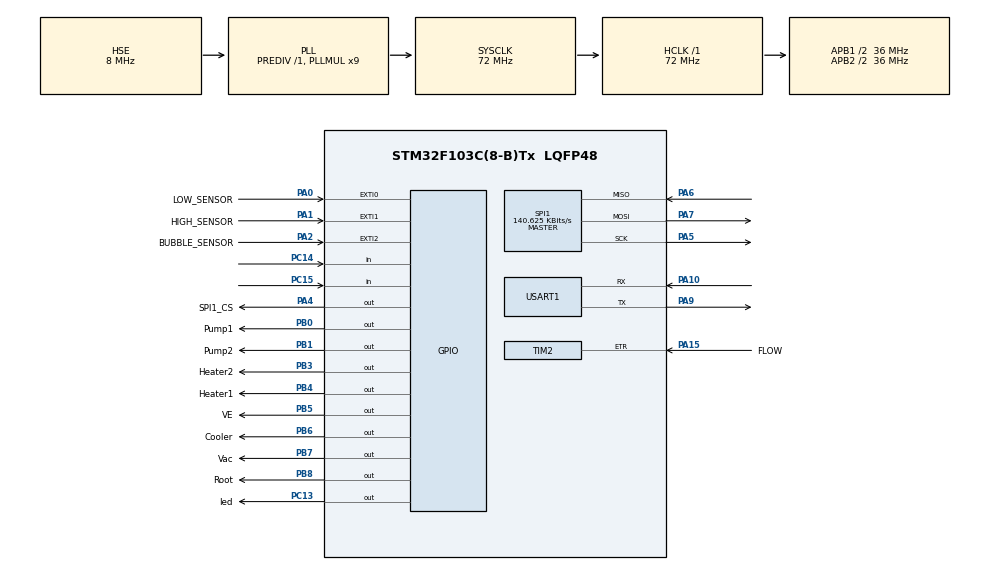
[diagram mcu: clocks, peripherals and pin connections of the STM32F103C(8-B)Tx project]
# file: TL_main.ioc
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Mcu.Family=STM32F1
Mcu.Name=STM32F103C(8-B)Tx
Mcu.Package=LQFP48
NVIC.EXTI0_IRQn=true\:0\:0\:false\:false\:true\:true
NVIC.EXTI1_IRQn=true\:0\:0\:false\:false\:true\:true
NVIC.EXTI2_IRQn=true\:0\:0\:false\:false\:true\:true
NVIC.PriorityGroup=NVIC_PRIORITYGROUP_4
NVIC.SPI1_IRQn=true\:0\:0\:false\:false\:true\:true
NVIC.TIM2_IRQn=true\:0\:0\:false\:false\:true\:true
NVIC.TIM4_IRQn=true\:0\:0\:false\:false\:true\:true
NVIC.USART1_IRQn=true\:0\:0\:false\:false\:true\:true
PA0-WKUP.GPIO_Label=LOW_SENSOR
PA0-WKUP.GPIO_ModeDefaultEXTI=GPIO_MODE_IT_RISING_FALLING
PA0-WKUP.GPIO_PuPd=GPIO_PULLUP
PA0-WKUP.Signal=GPXTI0
PA1.GPIO_Label=HIGH_SENSOR
PA1.GPIO_ModeDefaultEXTI=GPIO_MODE_IT_RISING_FALLING
PA1.GPIO_PuPd=GPIO_PULLUP
PA1.Signal=GPXTI1
PA10.Mode=Asynchronous
PA10.Signal=USART1_RX
PA13.Mode=Serial_Wire
PA13.Signal=SYS_JTMS-SWDIO
PA14.Mode=Serial_Wire
PA14.Signal=SYS_JTCK-SWCLK
PA15.GPIO_Label=FLOW
PA15.Signal=S_TIM2_CH1_ETR
PA2.GPIO_Label=BUBBLE_SENSOR
PA2.GPIO_ModeDefaultEXTI=GPIO_MODE_IT_RISING_FALLING
PA2.GPIO_PuPd=GPIO_PULLUP
PA2.Signal=GPXTI2
PA4.GPIO_Label=SPI1_CS
PA4.GPIO_ModeDefaultOutputPP=GPIO_MODE_OUTPUT_PP
PA4.GPIO_PuPd=GPIO_PULLUP
PA4.GPIO_Speed=GPIO_SPEED_FREQ_LOW
PA4.PinState=GPIO_PIN_RESET
PA4.Signal=GPIO_Output
PA5.Mode=Full_Duplex_Master
PA5.Signal=SPI1_SCK
PA6.GPIO_Mode=GPIO_MODE_INPUT
PA6.GPIO_PuPd=GPIO_NOPULL
PA6.Mode=Full_Duplex_Master
PA6.Signal=SPI1_MISO
PA7.Mode=Full_Duplex_Master
PA7.Signal=SPI1_MOSI
PA9.Mode=Asynchronous
PA9.Signal=USART1_TX
PB0.GPIO_Label=Pump1
PB0.GPIO_PuPd=GPIO_PULLUP
PB0.Signal=GPIO_Output
PB1.GPIO_Label=Pump2
PB1.GPIO_PuPd=GPIO_PULLUP
PB1.Signal=GPIO_Output
PB3.GPIO_Label=Heater2
PB3.GPIO_PuPd=GPIO_PULLUP
PB3.Signal=GPIO_Output
PB4.GPIO_Label=Heater1
PB4.GPIO_PuPd=GPIO_PULLUP
PB4.Signal=GPIO_Output
PB5.GPIO_Label=VE
PB5.GPIO_PuPd=GPIO_PULLUP
PB5.Signal=GPIO_Output
PB6.GPIO_Label=Cooler
PB6.GPIO_PuPd=GPIO_PULLUP
PB6.Signal=GPIO_Output
PB7.GPIO_Label=Vac
PB7.GPIO_PuPd=GPIO_PULLUP
PB7.Signal=GPIO_Output
PB8.GPIO_Label=Root
PB8.GPIO_PuPd=GPIO_PULLUP
PB8.Signal=GPIO_Output
PC13-TAMPER-RTC.GPIO_Label=led
PC13-TAMPER-RTC.GPIO_ModeDefaultOutputPP=GPIO_MODE_OUTPUT_PP
PC13-TAMPER-RTC.GPIO_PuPd=GPIO_PULLDOWN
PC13-TAMPER-RTC.GPIO_Speed=GPIO_SPEED_FREQ_LOW
PC13-TAMPER-RTC.PinState=GPIO_PIN_RESET
PC13-TAMPER-RTC.Signal=GPIO_Output
PC14-OSC32_IN.GPIO_Mode=GPIO_MODE_INPUT
PC14-OSC32_IN.GPIO_PuPd=GPIO_NOPULL
PC14-OSC32_IN.Signal=GPIO_Input
PC15-OSC32_OUT.GPIO_Mode=GPIO_MODE_INPUT
PC15-OSC32_OUT.GPIO_PuPd=GPIO_NOPULL
PC15-OSC32_OUT.Signal=GPIO_Input
PD0-OSC_IN.Mode=HSE-External-Oscillator
PD0-OSC_IN.Signal=RCC_OSC_IN
PD1-OSC_OUT.Mode=HSE-External-Oscillator
PD1-OSC_OUT.Signal=RCC_OSC_OUT
ProjectManager.HeapSize=0x200
ProjectManager.StackSize=0x400
ProjectManager.TargetToolchain=MDK-ARM V5
RCC.AHBFreq_Value=72000000
RCC.APB1CLKDivider=RCC_HCLK_DIV2
RCC.APB1Freq_Value=36000000
RCC.APB1TimFreq_Value=72000000
RCC.APB2CLKDivider=RCC_HCLK_DIV2
RCC.APB2Freq_Value=36000000
RCC.APB2TimFreq_Value=72000000
RCC.HCLKFreq_Value=72000000
RCC.PLLMUL=RCC_PLL_MUL9
RCC.PLLSourceVirtual=RCC_PLLSOURCE_HSE
RCC.SYSCLKFreq_VALUE=72000000
RCC.SYSCLKSource=RCC_SYSCLKSOURCE_PLLCLK
RCC.USBFreq_Value=72000000
SH.S_TIM2_CH1_ETR.0=TIM2_ETR,ClockSourceETR_Mode2
SPI1.BaudRatePrescaler=SPI_BAUDRATEPRESCALER_256
SPI1.CLKPhase=SPI_PHASE_2EDGE
SPI1.CalculateBaudRate=140.625 KBits/s
SPI1.Direction=SPI_DIRECTION_2LINES
SPI1.Mode=SPI_MODE_MASTER
SPI1.VirtualType=VM_MASTER
TIM2.Period=100
TIM4.AutoReloadPreload=TIM_AUTORELOAD_PRELOAD_ENABLE
TIM4.Period=2000
TIM4.Prescaler=36000
USART1.VirtualMode=VM_ASYNC
VP_TIM4_VS_ClockSourceINT.Mode=Internal
board=custom

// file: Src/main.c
/**
  ******************************************************************************
  * @file           : main.c
  * @brief          : Main program body
  ******************************************************************************
  ** This notice applies to any and all portions of this file
  * that are not between comment pairs USER CODE BEGIN and
  * USER CODE END. Other portions of this file, whether
  * inserted by the user or by software development tools
  * are owned by their respective copyright owners.
  *
  * COPYRIGHT(c) 2020 STMicroelectronics
  *
  * Redistribution and use in source and binary forms, with or without modification,
  * are permitted provided that the following conditions are met:
  *   1. Redistributions of source code must retain the above copyright notice,
  *      this list of conditions and the following disclaimer.
  *   2. Redistributions in binary form must reproduce the above copyright notice,
  *      this list of conditions and the following disclaimer in the documentation
  *      and/or other materials provided with the distribution.
  *   3. Neither the name of STMicroelectronics nor the names of its contributors
  *      may be used to endorse or promote products derived from this software
  *      without specific prior written permission.
  *
  * THIS SOFTWARE IS PROVIDED BY THE COPYRIGHT HOLDERS AND CONTRIBUTORS "AS IS"
  * AND ANY EXPRESS OR IMPLIED WARRANTIES, INCLUDING, BUT NOT LIMITED TO, THE
  * IMPLIED WARRANTIES OF MERCHANTABILITY AND FITNESS FOR A PARTICULAR PURPOSE ARE
  * DISCLAIMED. IN NO EVENT SHALL THE COPYRIGHT HOLDER OR CONTRIBUTORS BE LIABLE
  * FOR ANY DIRECT, INDIRECT, INCIDENTAL, SPECIAL, EXEMPLARY, OR CONSEQUENTIAL
  * DAMAGES (INCLUDING, BUT NOT LIMITED TO, PROCUREMENT OF SUBSTITUTE GOODS OR
  * SERVICES; LOSS OF USE, DATA, OR PROFITS; OR BUSINESS INTERRUPTION) HOWEVER
  * CAUSED AND ON ANY THEORY OF LIABILITY, WHETHER IN CONTRACT, STRICT LIABILITY,
  * OR TORT (INCLUDING NEGLIGENCE OR OTHERWISE) ARISING IN ANY WAY OUT OF THE USE
  * OF THIS SOFTWARE, EVEN IF ADVISED OF THE POSSIBILITY OF SUCH DAMAGE.
  *
  ******************************************************************************
  */
#include "main.h"
#include "stm32f1xx_hal.h"

/* USER CODE BEGIN Includes */
//#include "tm_stm32_hd44780.h"
#include "rc522.h"
#include "stdio.h"
#include "stdlib.h"
#include <cstring>
#include <stdbool.h>
#include "math.h"
//#include <Sim80x.h>
#include <string.h>
//include <stdio.h>
//#define relay_off HAL_GPIO_WritePin(GPIOB,GPIO_PIN_1,GPIO_PIN_RESET)
// Define input and ouput
//Input
#define LS_State HAL_GPIO_ReadPin(LOW_SENSOR_GPIO_Port,LOW_SENSOR_Pin)
#define HS_State HAL_GPIO_ReadPin(HIGH_SENSOR_GPIO_Port,HIGH_SENSOR_Pin)
#define BS_State HAL_GPIO_ReadPin(BUBBLE_SENSOR_GPIO_Port,BUBBLE_SENSOR_Pin)
#define VE_State HAL_GPIO_ReadPin(VE_GPIO_Port,VE_Pin)
#define Pump1_State HAL_GPIO_ReadPin(Pump1_GPIO_Port,Pump1_Pin)
#define Pump2_State HAL_GPIO_ReadPin(Pump2_GPIO_Port,Pump2_Pin)
#define Root_State HAL_GPIO_ReadPin(Root_GPIO_Port,Root_Pin)
#define Vac_State HAL_GPIO_ReadPin(Vac_GPIO_Port,Vac_Pin)
#define Cooler_State HAL_GPIO_ReadPin(Cooler_GPIO_Port,Cooler_Pin)
#define Heater1_State HAL_GPIO_ReadPin(Heater1_GPIO_Port,Heater1_Pin)
#define Heater2_State HAL_GPIO_ReadPin(Heater2_GPIO_Port,Heater2_Pin)

//Output
#define Pump1_on HAL_GPIO_WritePin(Pump1_GPIO_Port,Pump1_Pin,GPIO_PIN_SET)
#define Pump1_off HAL_GPIO_WritePin(Pump1_GPIO_Port,Pump1_Pin,GPIO_PIN_RESET)
#define Pump2_on HAL_GPIO_WritePin(Pump2_GPIO_Port,Pump2_Pin,GPIO_PIN_SET)
#define Pump2_off HAL_GPIO_WritePin(Pump2_GPIO_Port,Pump2_Pin,GPIO_PIN_RESET)
#define Root_on HAL_GPIO_WritePin(Root_GPIO_Port,Root_Pin,GPIO_PIN_SET)
#define Root_off HAL_GPIO_WritePin(Root_GPIO_Port,Root_Pin,GPIO_PIN_RESET)
#define Vac_on HAL_GPIO_WritePin(Vac_GPIO_Port,Vac_Pin,GPIO_PIN_SET)
#define Vac_off HAL_GPIO_WritePin(Vac_GPIO_Port,Vac_Pin,GPIO_PIN_RESET)
#define Cooler_on HAL_GPIO_WritePin(Cooler_GPIO_Port,Cooler_Pin,GPIO_PIN_SET)
#define Cooler_off HAL_GPIO_WritePin(Cooler_GPIO_Port,Cooler_Pin,GPIO_PIN_RESET)
#define VE_on HAL_GPIO_WritePin(VE_GPIO_Port,VE_Pin,GPIO_PIN_SET)
#define VE_off HAL_GPIO_WritePin(VE_GPIO_Port,VE_Pin,GPIO_PIN_RESET)
#define Heater1_on HAL_GPIO_WritePin(Heater1_GPIO_Port,Heater1_Pin,GPIO_PIN_SET)
#define Heater1_off HAL_GPIO_WritePin(Heater1_GPIO_Port,Heater1_Pin,GPIO_PIN_RESET)
#define Heater2_on HAL_GPIO_WritePin(Heater2_GPIO_Port,Heater2_Pin,GPIO_PIN_SET)
#define Heater2_off HAL_GPIO_WritePin(Heater2_GPIO_Port,Heater2_Pin,GPIO_PIN_RESET)
/* USER CODE END Includes */

SPI_HandleTypeDef hspi1;

TIM_HandleTypeDef htim2;
TIM_HandleTypeDef htim4;

UART_HandleTypeDef huart1;

/* USER CODE BEGIN PV */
/* Private variables ---------------------------------------------------------*/
bool Error_Sensor=false,init_stage=true;
uint8_t stage=0,mode=0,start=0;
uint16_t flow =0,temp=0,pressure=0,setTemp=0,flow_check=0,temp_check=0,pressure_check=0,setTemp_check=0;
char bfr_wifi1[200],bfr_wifi2[200],bfr_wifi3[200],Rx_BufferEsp[200], Transfer_cplt,flow_bf[10],temp_bf[10],pressure_bf[10],setTemp_bf[10];
uint8_t Rx_indx,length;
char Rx_data[2];
uint8_t check=0;
uint8_t id=1;
uint16_t tik = 0;
uint8_t count_Byte;

/* USER CODE END PV */

void SystemClock_Config(void);
static void MX_GPIO_Init(void);
static void MX_SPI1_Init(void);
static void MX_USART1_UART_Init(void);
static void MX_TIM4_Init(void);
static void MX_TIM2_Init(void);

/* USER CODE BEGIN PFP */
/* Private function prototypes -----------------------------------------------*/

/* END CRC Modbus Function */

/* BEGIN Read Holding Register Function */

/* END Read Holding Register Function */

/* BEGIN TransferRTU Enable*/

/* END TransferRTU Enable */

/* BEGIN TransferRTU Enable */

/* END TransferRTU Enable */

void Transfer_data_IT(){
//			sprintf(bfr_wifi2,"{\"Id\":\"%d\",\"U1\":\"%0.3f\",\"U2\":\"%0.3f\",\"I1\":\"%0.3f\",\"I2\":\"%0.3f\",\"cosP1\":\"%0.3f\",\"cosP2\":\"%0.3f\"}\n",id,Vhd1,Vhd2,Ihd1,Ihd2,cosP1,cosP2);
			sprintf(bfr_wifi1,"{\"s\":\"%d\",\"m\":\"%d\",\"LS\":\"%d\",\"HS\":\"%d\",\"BS\":\"%d\",\"P1\":\"%d\",\"P2\":\"%d\",\"press\":\"%d\",\"setTemp\":\"%d\"}\n",start,mode,LS_State,HS_State,BS_State,Pump1_State,Pump2_State,pressure,setTemp);
			HAL_UART_Transmit_IT(&huart1,(uint8_t*)bfr_wifi1,strlen(bfr_wifi1));
			HAL_Delay(20);
			sprintf(bfr_wifi1,"{\"R\":\"%d\",\"V\":\"%d\",\"C\":\"%d\",\"VE\":\"%d\",\"H1\":\"%d\",\"H2\":\"%d\",\"flow\":\"%d\",\"temp\":\"%d\"}\n",Root_State,Vac_State,Cooler_State,VE_State,Heater1_State,Heater2_State,flow,temp);
			HAL_UART_Transmit_IT(&huart1,(uint8_t*)bfr_wifi1,strlen(bfr_wifi1));
//			HAL_Delay(100);

}
void Transfer_data_sd(){
			sprintf(bfr_wifi2,"{\"s\":\"%d\",\"m\":\"%d\",\"LS\":\"%d\",\"HS\":\"%d\",\"BS\":\"%d\",\"P1\":\"%d\",\"P2\":\"%d\",\"press\":\"%d\",\"setTemp\":\"%d\"}\n",start,mode,LS_State,HS_State,BS_State,Pump1_State,Pump2_State,pressure,setTemp);
			HAL_UART_Transmit(&huart1,(uint8_t*)bfr_wifi2,strlen(bfr_wifi2),20);
			sprintf(bfr_wifi2,"{\"R\":\"%d\",\"V\":\"%d\",\"C\":\"%d\",\"VE\":\"%d\",\"H1\":\"%d\",\"H2\":\"%d\",\"flow\":\"%d\",\"temp\":\"%d\"}\n",Root_State,Vac_State,Cooler_State,VE_State,Heater1_State,Heater2_State,flow,temp);
			HAL_UART_Transmit(&huart1,(uint8_t*)bfr_wifi2,strlen(bfr_wifi2),20);

}

void HAL_UART_RxCpltCallback(UART_HandleTypeDef *huart){
	uint8_t i;
	if (huart->Instance == USART1){
		if (Rx_indx==0) {for (i=0;i<200;i++) Rx_BufferEsp[i]=0;}	//xoa Rx_Buffer truoc khi nhan du lieu

		if (Rx_data[0]!='\n')	//Neu du lieu nhan duoc khac voi 13 (13 la ma cua phim enter xuong dong)
			{
			Rx_BufferEsp[Rx_indx++]=Rx_data[0];	//them du lieu vao Rx_Buffer
			if(Rx_BufferEsp[0] == '@') // neu co ki tu hop le thi moi xu ly
				{
					Transfer_data_sd();

				}
			if((Rx_BufferEsp[0] == '.')||(Rx_BufferEsp[0] == '#')||(Rx_BufferEsp[0] == '$')||(Rx_BufferEsp[0] == '%')||(Rx_BufferEsp[0] == '^')){

			}
			else //khong thi dua index ve 0 -> se bi xoa buffer
				{
					Rx_indx=0;	//Dua index ve 0
					Transfer_cplt=0;//

				}
			}
		else			//Neu phim enter duoc an
			{
					length=Rx_indx;
					Rx_indx=0;	//Dua index ve 0
					Transfer_cplt=1;//Qua trinh truyen hoan tat, du lieu da san sang de doc
			}
			if(Transfer_cplt==1)
			{
				if(Rx_BufferEsp[0]=='.'){
					if(Rx_BufferEsp[1]=='1') {start=1;stage=0;}
					if(Rx_BufferEsp[1]=='0') {start =0;stage=0;}
					if(Rx_BufferEsp[3]=='1'){//mode auto
						if(mode==0){
							stage=0;
						}
						mode=1;
					}
					if(Rx_BufferEsp[3]=='0') {//mode manual
						mode=0;
						if(start==1){
							if(Rx_BufferEsp[5]=='1'){Pump1_on;}
							if(Rx_BufferEsp[5]=='0'){Pump1_off;}
							if(Rx_BufferEsp[7]=='1'){Pump2_on;}
							if(Rx_BufferEsp[7]=='0'){Pump2_off;}
							if(Rx_BufferEsp[9]=='1'){Root_on;}
							if(Rx_BufferEsp[9]=='0'){Root_off;}
							if(Rx_BufferEsp[11]=='1'){Vac_on;}
							if(Rx_BufferEsp[11]=='0'){Vac_off;}
							if(Rx_BufferEsp[13]=='1'){Cooler_on;}
							if(Rx_BufferEsp[13]=='0'){Cooler_off;}
							if(Rx_BufferEsp[15]=='1'){VE_on;}
							if(Rx_BufferEsp[15]=='0'){VE_off;}
							if(Rx_BufferEsp[17]=='1'){Heater1_on;}
							if(Rx_BufferEsp[17]=='0'){Heater1_off;}
							if(Rx_BufferEsp[19]=='1'){Heater2_on;}
							if(Rx_BufferEsp[19]=='0'){Heater2_off;}
							stage=50;
						}

						}
				}
				if(Rx_BufferEsp[0]=='#'){
					for(int i=0;i<length;i++){
						flow_bf[i]=Rx_BufferEsp[i+1];
					}
					flow = atoi(flow_bf);
					if(mode==1){
						if((flow>0)&&(flow<=2000)&&(setTemp>=temp)){
							Heater1_on;
							Heater2_off;
						}
						if((flow>2000)&&(setTemp>=temp)) {
							Heater1_on;
							Heater2_on;
						}
						if((flow==0)||(setTemp<temp)){
							Heater1_off;
							Heater2_off;
					}

					}

				}
				if(Rx_BufferEsp[0]=='%'){
					for(int i=0;i<length;i++){
						pressure_bf[i]=Rx_BufferEsp[i+1];
					}
					pressure = atoi(pressure_bf);

				}
				if(Rx_BufferEsp[0]=='^'){
					for(int i=0;i<length;i++){
						setTemp_bf[i]=Rx_BufferEsp[i+1];
					}
					 setTemp= atoi(setTemp_bf);
					if(mode==1){
						if((flow>0)&&(flow<=2000)&&(setTemp>=temp)){
							Heater1_on;
							Heater2_off;
						}
						if((flow>2000)&&(setTemp>=temp)) {
							Heater1_on;
							Heater2_on;
						}
						if((flow==0)||(setTemp<temp)){
							Heater1_off;
							Heater2_off;
					}

					}

				}
				if(Rx_BufferEsp[0]=='$'){
					for(int i=0;i<length;i++){
						temp_bf[i]=Rx_BufferEsp[i+1];
					}
					temp = atoi(temp_bf);
					if(mode==1){
						if((flow>0)&&(flow<=2000)&&(setTemp>=temp)){
							Heater1_on;
							Heater2_off;
						}
						if((flow>2000)&&(setTemp>=temp)) {
							Heater1_on;
							Heater2_on;
						}
						if((flow==0)||(setTemp<temp)){
							Heater1_off;
							Heater2_off;
					}

					}

				}

			}
		HAL_UART_Receive_IT(&huart1, (uint8_t*)Rx_data, 1);	//Kich hoat UART nhan du lieu ngat moi luc
	}

}

void check_init_stages(){
	if(LS_State&&HS_State){
		if(!VE_State){
			stage=0;
			init_stage=true;
		}
	}
	else {init_stage=false;}

}

void HAL_GPIO_EXTI_Callback(uint16_t GPIO_Pin){
	if(GPIO_Pin == LOW_SENSOR_Pin){
		if(mode==1){
			// Xuong duoi muc thap
			// Duoi muc thap 0 0 1 0
			if(LS_State&&HS_State){
				stage=4;
				Error_Sensor=false; //RESET LOI
			}
			if(LS_State&&!HS_State){
				Error_Sensor=true; //LOI
			}
			//Vuot len muc thap
			//Nam giua muc thap va muc cao(TH on dinh) 1 0 1 1
			if((!LS_State) &&(HS_State)){
				stage = 1;
				Error_Sensor=false; //RESET LOI
			}
			// Vuot qua ca muc thap va muc cao (de phong loi cam bien muc cao)
			// 2 truong hop 1100 va 01xx deu phai bao loi
			if(!LS_State&&!HS_State){
				Error_Sensor=true;;// LOI
			}
		}
		else {
			Transfer_data_sd();
		}
	}
	if(GPIO_Pin == HIGH_SENSOR_Pin){
		if(mode==1){
			// Vuot qua muc cao 1101
			if(!HS_State&&!LS_State){
				stage=2;
				Error_Sensor=false; //RESET LOI
			}
			if(!HS_State&&LS_State){
				Error_Sensor=true;//LOI
			}
			// Xuong duoi muc cao
			//Giam xuong nam giua muc thap va muc cao (TH on dinh) 1 0 1 1
			if(HS_State&&!LS_State){
				stage=3;
				Error_Sensor=false; //RESET LOI
			}
			if(HS_State&&LS_State){
			Error_Sensor=true;// LOI
			}
		}
		else {
			Transfer_data_sd();
		}

	}
	if(GPIO_Pin == BUBBLE_SENSOR_Pin){
		if(mode==1){
			if(BS_State){VE_off;}
			else {VE_on;}
			Transfer_data_sd();
		}
		else {
			Transfer_data_sd();
		}

	}
}

void HAL_TIM_PeriodElapsedCallback(TIM_HandleTypeDef *htim4)
{
	if(htim4 -> Instance == TIM4)
	{
		tik= tik+1;
	}
}

/* USER CODE END PFP */

int main(void)
{

  /* MCU Configuration----------------------------------------------------------*/

  /* Reset of all peripherals, Initializes the Flash interface and the Systick. */
  HAL_Init();

  /* Configure the system clock */
  SystemClock_Config();

  /* Initialize all configured peripherals */
  MX_GPIO_Init();
  MX_SPI1_Init();
  MX_USART1_UART_Init();
  MX_TIM4_Init();
  MX_TIM2_Init();
  /* USER CODE BEGIN 2 */
	HAL_TIM_Base_Start_IT(&htim4);
	//HAL_TIM_Base_Start_IT(&htim2);
	check_init_stages();
	Transfer_data_IT();
	HAL_UART_Receive_IT(&huart1, (uint8_t*)Rx_data, 1);

  /* USER CODE END 2 */

  /* Infinite loop */
  /* USER CODE BEGIN WHILE */
  while (1)
  {
		if(start==1){
			//mode=1 => Auto Mode
			HAL_GPIO_WritePin(led_GPIO_Port,led_Pin,GPIO_PIN_RESET);
			if(init_stage==true){
				if(mode==1){
					if(stage==0){ // Trang thai muc nuoc duoi muc thap
						// Neu ca 2 cam bien chua tac dong -> duoi muc thap -> thi moi cho bom
						Cooler_on; //Bat che do lam lanh
						Vac_on; // Chay Vac pump
						Pump2_off;
						Transfer_data_IT();
						HAL_Delay(5000);
						Root_on;
						Transfer_data_IT();
						HAL_Delay(10000);
						Pump1_on;

						if((flow>0)&&(flow<2000)&&(setTemp>=temp)){
							Heater1_on;
							Heater2_off;
						}
						if((flow>2000)&&(setTemp>=temp)) {
							Heater1_on;
							Heater2_on;
						}
						if((flow==0)||(setTemp<temp)){
							Heater1_off;
							Heater2_off;
						}
						Transfer_data_IT();//Cap nhat trang thai ket thuc
						stage=100;//Out khoi vong lap

				}
					if(stage==1){ //Tu muc thap len trang thai on dinh
						if(flow<2000){
							Heater1_on;
							Heater2_off;
						}
						else {
							Heater1_on;
							Heater2_on;
						}
						Cooler_on; //Bat che do lam lanh
						Vac_on;
						Root_on; //Chay root pump
						Pump1_on; //Chay bom dau vao
						HAL_Delay(1000);
						Pump2_on;//ngat bom dau ra

						if((flow>0)&&(flow<2000)&&(setTemp>=temp)){
							Heater1_on;
							Heater2_off;
						}
						if((flow>2000)&&(setTemp>=temp)) {
							Heater1_on;
							Heater2_on;
						}
						if((flow==0)||(setTemp<temp)){
							Heater1_off;
							Heater2_off;
						}
						Transfer_data_IT();//Cap nhat trang thai ket thuc
						stage=100;//Out khoi vong lap
					}
					if(stage==2){ //Trang thai vuot muc cao
						Cooler_on; //Bat che do lam lanh
						Vac_on;
						Root_on; //Chay root pump
						Pump1_off; //ngat bom dau vao
						Pump2_on;//chay bom dau ra

						if((flow>0)&&(flow<2000)&&(setTemp>=temp)){
							Heater1_on;
							Heater2_off;
						}
						if((flow>2000)&&(setTemp>=temp)) {
							Heater1_on;
							Heater2_on;
						}
						if((flow==0)||(setTemp<temp)){
							Heater1_off;
							Heater2_off;
						}
						Transfer_data_IT();//Cap nhat trang thai ket thuc
						stage=100;//Out khoi vong lap
					}
					if(stage==3){ //Tu muc cao xuong on dinh
						Cooler_on; //Bat che do lam lanh
						Vac_on;
						Root_on; //Chay root pump
						Pump2_on;//ngat bom dau ra
						HAL_Delay(1000);
						Pump1_on; //Chay bom dau vao
						if((flow>0)&&(flow<2000)&&(setTemp>=temp)){
							Heater1_on;
							Heater2_off;
						}
						if((flow>2000)&&(setTemp>=temp)) {
							Heater1_on;
							Heater2_on;
						}
						if((flow==0)||(setTemp<temp)){
							Heater1_off;
							Heater2_off;
						}
						Transfer_data_IT();//Cap nhat trang thai ket thuc

						stage=100;//Out khoi vong lap
					}
					if(stage==4){ //Tu on dinh xuong duoi muc thap
						Cooler_on; //Bat che do lam lanh
						Vac_on;
						Root_on; //Chay root pump
						Pump2_off;//ngat bom dau ra
						HAL_Delay(1000);
						Pump1_on; //Chay bom dau vao
						if((flow>0)&&(flow<2000)&&(setTemp>=temp)){
							Heater1_on;
							Heater2_off;
						}
						if((flow>2000)&&(setTemp>=temp)) {
							Heater1_on;
							Heater2_on;
						}
						if((flow==0)||(setTemp<temp)){
							Heater1_off;
							Heater2_off;
						}
						Transfer_data_IT();//Cap nhat trang thai ket thuc
						stage=100;//Out khoi vong lap
					}

					else if(stage==100){;}

			}
			else {//Che do manual
				// Ngat tat ca cac thiet bi
				if(stage==50){

					Transfer_data_IT();//Cap nhat trang thai ket thuc
					stage=100;//Out khoi vong lap
					}
				if(stage==100){;}

			}

	}

			else {
				if(stage!=100){
					// Ngat tat ca cac thiet bi
					Pump1_off;
					Pump2_off;
					Root_off;
					Vac_off;
					Heater1_off;
					Heater2_off;
					VE_off;
					Cooler_off;
					Transfer_data_IT();//Cap nhat trang thai ket thuc
					stage=100;//Out khoi vong lap
				}
				else{}
			}

			HAL_Delay(200);

  /* USER CODE END WHILE */

  /* USER CODE BEGIN 3 */

  } //end cua if start
	else { //Neu chuyen sang che do tam dung
		if(stage!=100){
			HAL_GPIO_WritePin(led_GPIO_Port,led_Pin,GPIO_PIN_SET);
			Pump1_off;
			Pump2_off;
			Root_off;
			Vac_off;
			Heater1_off;
			Heater2_off;
			VE_off;
			Cooler_off;
			Transfer_data_IT();//Cap nhat trang thai ket thuc
			stage=100;
		}
		}
	if(flow_check!=flow){
		flow_check = flow;
		Transfer_data_IT();

	}
	if(temp_check!=temp){
		temp_check = temp ;
		Transfer_data_IT();

	}
	if(pressure_check!=pressure){
		pressure_check = pressure ;
		Transfer_data_IT();

	}
	if(setTemp_check!=setTemp){
		setTemp_check = setTemp ;
		Transfer_data_IT();

	}
		HAL_Delay(200);

} //end cua vong while(1)
  /* USER CODE END 3 */

}

void SystemClock_Config(void)
{

  RCC_OscInitTypeDef RCC_OscInitStruct;
  RCC_ClkInitTypeDef RCC_ClkInitStruct;

    /**Initializes the CPU, AHB and APB busses clocks
    */
  RCC_OscInitStruct.OscillatorType = RCC_OSCILLATORTYPE_HSE;
  RCC_OscInitStruct.HSEState = RCC_HSE_ON;
  RCC_OscInitStruct.HSEPredivValue = RCC_HSE_PREDIV_DIV1;
  RCC_OscInitStruct.HSIState = RCC_HSI_ON;
  RCC_OscInitStruct.PLL.PLLState = RCC_PLL_ON;
  RCC_OscInitStruct.PLL.PLLSource = RCC_PLLSOURCE_HSE;
  RCC_OscInitStruct.PLL.PLLMUL = RCC_PLL_MUL9;
  if (HAL_RCC_OscConfig(&RCC_OscInitStruct) != HAL_OK)
  {
    _Error_Handler(__FILE__, __LINE__);
  }

    /**Initializes the CPU, AHB and APB busses clocks
    */
  RCC_ClkInitStruct.ClockType = RCC_CLOCKTYPE_HCLK|RCC_CLOCKTYPE_SYSCLK
                              |RCC_CLOCKTYPE_PCLK1|RCC_CLOCKTYPE_PCLK2;
  RCC_ClkInitStruct.SYSCLKSource = RCC_SYSCLKSOURCE_PLLCLK;
  RCC_ClkInitStruct.AHBCLKDivider = RCC_SYSCLK_DIV1;
  RCC_ClkInitStruct.APB1CLKDivider = RCC_HCLK_DIV2;
  RCC_ClkInitStruct.APB2CLKDivider = RCC_HCLK_DIV2;

  if (HAL_RCC_ClockConfig(&RCC_ClkInitStruct, FLASH_LATENCY_2) != HAL_OK)
  {
    _Error_Handler(__FILE__, __LINE__);
  }

    /**Configure the Systick interrupt time
    */
  HAL_SYSTICK_Config(HAL_RCC_GetHCLKFreq()/1000);

    /**Configure the Systick
    */
  HAL_SYSTICK_CLKSourceConfig(SYSTICK_CLKSOURCE_HCLK);

  /* SysTick_IRQn interrupt configuration */
  HAL_NVIC_SetPriority(SysTick_IRQn, 0, 0);
}

/* SPI1 init function */
static void MX_SPI1_Init(void)
{

  /* SPI1 parameter configuration*/
  hspi1.Instance = SPI1;
  hspi1.Init.Mode = SPI_MODE_MASTER;
  hspi1.Init.Direction = SPI_DIRECTION_2LINES;
  hspi1.Init.DataSize = SPI_DATASIZE_8BIT;
  hspi1.Init.CLKPolarity = SPI_POLARITY_LOW;
  hspi1.Init.CLKPhase = SPI_PHASE_2EDGE;
  hspi1.Init.NSS = SPI_NSS_SOFT;
  hspi1.Init.BaudRatePrescaler = SPI_BAUDRATEPRESCALER_256;
  hspi1.Init.FirstBit = SPI_FIRSTBIT_MSB;
  hspi1.Init.TIMode = SPI_TIMODE_DISABLE;
  hspi1.Init.CRCCalculation = SPI_CRCCALCULATION_DISABLE;
  hspi1.Init.CRCPolynomial = 10;
  if (HAL_SPI_Init(&hspi1) != HAL_OK)
  {
    _Error_Handler(__FILE__, __LINE__);
  }

}

/* TIM2 init function */
static void MX_TIM2_Init(void)
{

  TIM_ClockConfigTypeDef sClockSourceConfig;
  TIM_MasterConfigTypeDef sMasterConfig;

  htim2.Instance = TIM2;
  htim2.Init.Prescaler = 0;
  htim2.Init.CounterMode = TIM_COUNTERMODE_UP;
  htim2.Init.Period = 100;
  htim2.Init.ClockDivision = TIM_CLOCKDIVISION_DIV1;
  htim2.Init.AutoReloadPreload = TIM_AUTORELOAD_PRELOAD_DISABLE;
  if (HAL_TIM_Base_Init(&htim2) != HAL_OK)
  {
    _Error_Handler(__FILE__, __LINE__);
  }

  sClockSourceConfig.ClockSource = TIM_CLOCKSOURCE_ETRMODE2;
  sClockSourceConfig.ClockPolarity = TIM_CLOCKPOLARITY_NONINVERTED;
  sClockSourceConfig.ClockPrescaler = TIM_CLOCKPRESCALER_DIV1;
  sClockSourceConfig.ClockFilter = 0;
  if (HAL_TIM_ConfigClockSource(&htim2, &sClockSourceConfig) != HAL_OK)
  {
    _Error_Handler(__FILE__, __LINE__);
  }

  sMasterConfig.MasterOutputTrigger = TIM_TRGO_RESET;
  sMasterConfig.MasterSlaveMode = TIM_MASTERSLAVEMODE_DISABLE;
  if (HAL_TIMEx_MasterConfigSynchronization(&htim2, &sMasterConfig) != HAL_OK)
  {
    _Error_Handler(__FILE__, __LINE__);
  }

}

/* TIM4 init function */
static void MX_TIM4_Init(void)
{

  TIM_ClockConfigTypeDef sClockSourceConfig;
  TIM_MasterConfigTypeDef sMasterConfig;

  htim4.Instance = TIM4;
  htim4.Init.Prescaler = 36000;
  htim4.Init.CounterMode = TIM_COUNTERMODE_UP;
  htim4.Init.Period = 2000;
  htim4.Init.ClockDivision = TIM_CLOCKDIVISION_DIV1;
  htim4.Init.AutoReloadPreload = TIM_AUTORELOAD_PRELOAD_ENABLE;
  if (HAL_TIM_Base_Init(&htim4) != HAL_OK)
  {
    _Error_Handler(__FILE__, __LINE__);
  }

  sClockSourceConfig.ClockSource = TIM_CLOCKSOURCE_INTERNAL;
  if (HAL_TIM_ConfigClockSource(&htim4, &sClockSourceConfig) != HAL_OK)
  {
    _Error_Handler(__FILE__, __LINE__);
  }

  sMasterConfig.MasterOutputTrigger = TIM_TRGO_RESET;
  sMasterConfig.MasterSlaveMode = TIM_MASTERSLAVEMODE_DISABLE;
  if (HAL_TIMEx_MasterConfigSynchronization(&htim4, &sMasterConfig) != HAL_OK)
  {
    _Error_Handler(__FILE__, __LINE__);
  }

}

/* USART1 init function */
static void MX_USART1_UART_Init(void)
{

  huart1.Instance = USART1;
  huart1.Init.BaudRate = 115200;
  huart1.Init.WordLength = UART_WORDLENGTH_8B;
  huart1.Init.StopBits = UART_STOPBITS_1;
  huart1.Init.Parity = UART_PARITY_NONE;
  huart1.Init.Mode = UART_MODE_TX_RX;
  huart1.Init.HwFlowCtl = UART_HWCONTROL_NONE;
  huart1.Init.OverSampling = UART_OVERSAMPLING_16;
  if (HAL_UART_Init(&huart1) != HAL_OK)
  {
    _Error_Handler(__FILE__, __LINE__);
  }

}

/** Configure pins as
        * Analog
        * Input
        * Output
        * EVENT_OUT
        * EXTI
*/
static void MX_GPIO_Init(void)
{

  GPIO_InitTypeDef GPIO_InitStruct;

  /* GPIO Ports Clock Enable */
  __HAL_RCC_GPIOC_CLK_ENABLE();
  __HAL_RCC_GPIOD_CLK_ENABLE();
  __HAL_RCC_GPIOA_CLK_ENABLE();
  __HAL_RCC_GPIOB_CLK_ENABLE();

  /*Configure GPIO pin Output Level */
  HAL_GPIO_WritePin(led_GPIO_Port, led_Pin, GPIO_PIN_RESET);

  /*Configure GPIO pin Output Level */
  HAL_GPIO_WritePin(SPI1_CS_GPIO_Port, SPI1_CS_Pin, GPIO_PIN_RESET);

  /*Configure GPIO pin Output Level */
  HAL_GPIO_WritePin(GPIOB, Pump1_Pin|Pump2_Pin|Heater2_Pin|Heater1_Pin
                          |VE_Pin|Cooler_Pin|Vac_Pin|Root_Pin, GPIO_PIN_RESET);

  /*Configure GPIO pin : led_Pin */
  GPIO_InitStruct.Pin = led_Pin;
  GPIO_InitStruct.Mode = GPIO_MODE_OUTPUT_PP;
  GPIO_InitStruct.Pull = GPIO_PULLDOWN;
  GPIO_InitStruct.Speed = GPIO_SPEED_FREQ_LOW;
  HAL_GPIO_Init(led_GPIO_Port, &GPIO_InitStruct);

  /*Configure GPIO pins : PC14 PC15 */
  GPIO_InitStruct.Pin = GPIO_PIN_14|GPIO_PIN_15;
  GPIO_InitStruct.Mode = GPIO_MODE_INPUT;
  GPIO_InitStruct.Pull = GPIO_NOPULL;
  HAL_GPIO_Init(GPIOC, &GPIO_InitStruct);

  /*Configure GPIO pins : LOW_SENSOR_Pin HIGH_SENSOR_Pin BUBBLE_SENSOR_Pin */
  GPIO_InitStruct.Pin = LOW_SENSOR_Pin|HIGH_SENSOR_Pin|BUBBLE_SENSOR_Pin;
  GPIO_InitStruct.Mode = GPIO_MODE_IT_RISING_FALLING;
  GPIO_InitStruct.Pull = GPIO_PULLUP;
  HAL_GPIO_Init(GPIOA, &GPIO_InitStruct);

  /*Configure GPIO pin : SPI1_CS_Pin */
  GPIO_InitStruct.Pin = SPI1_CS_Pin;
  GPIO_InitStruct.Mode = GPIO_MODE_OUTPUT_PP;
  GPIO_InitStruct.Pull = GPIO_PULLUP;
  GPIO_InitStruct.Speed = GPIO_SPEED_FREQ_LOW;
  HAL_GPIO_Init(SPI1_CS_GPIO_Port, &GPIO_InitStruct);

  /*Configure GPIO pins : Pump1_Pin Pump2_Pin Heater2_Pin Heater1_Pin
                           VE_Pin Cooler_Pin Vac_Pin Root_Pin */
  GPIO_InitStruct.Pin = Pump1_Pin|Pump2_Pin|Heater2_Pin|Heater1_Pin
                          |VE_Pin|Cooler_Pin|Vac_Pin|Root_Pin;
  GPIO_InitStruct.Mode = GPIO_MODE_OUTPUT_PP;
  GPIO_InitStruct.Pull = GPIO_PULLUP;
  GPIO_InitStruct.Speed = GPIO_SPEED_FREQ_LOW;
  HAL_GPIO_Init(GPIOB, &GPIO_InitStruct);

  /* EXTI interrupt init*/
  HAL_NVIC_SetPriority(EXTI0_IRQn, 0, 0);
  HAL_NVIC_EnableIRQ(EXTI0_IRQn);

  HAL_NVIC_SetPriority(EXTI1_IRQn, 0, 0);
  HAL_NVIC_EnableIRQ(EXTI1_IRQn);

  HAL_NVIC_SetPriority(EXTI2_IRQn, 0, 0);
  HAL_NVIC_EnableIRQ(EXTI2_IRQn);

}

void _Error_Handler(char *file, int line)
{
  while(1)
  {
  }
}

/************************ (C) COPYRIGHT STMicroelectronics *****END OF FILE****/
